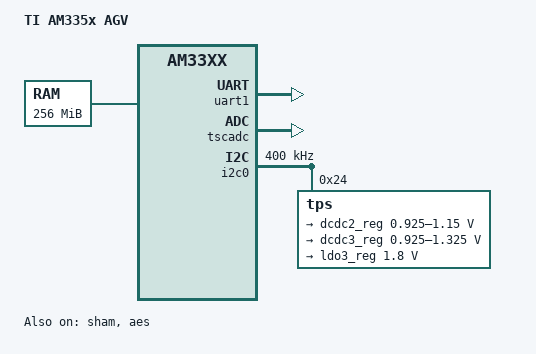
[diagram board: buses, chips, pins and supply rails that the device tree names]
/*
 * Copyright (C) 2012 Texas Instruments Incorporated - http://www.ti.com/
 *
 * This program is free software; you can redistribute it and/or modify
 * it under the terms of the GNU General Public License version 2 as
 * published by the Free Software Foundation.
 */

/* 适配OK335x */

/include/ "am33xx.dtsi"

/ {
	model = "TI AM335x AGV";
	compatible = "ti,am335x-agv", "ti,am33xx";

	cpus {
		cpu@0 {
			cpu0-supply = <&dcdc3_reg>;
		};
	};

	memory {
		device_type = "memory";
		reg = <0x80000000 0x10000000>; /* 256 MB */
	};

	am33xx_pinmux: pinmux@44e10800 {
		pinctrl-names = "default";
		pinctrl-0 = <&i2c0_pins>;

		i2c0_pins: pinmux_i2c0_pins {
			pinctrl-single,pins = <
				0x188 0x70 	/* i2c0_sda, SLEWCTRL_SLOW | INPUT_PULLUP | MODE0 */
				0x18c 0x70	/* i2c0_scl, SLEWCTRL_SLOW | INPUT_PULLUP | MODE0 */
			>;
		};
	};

	ocp: ocp {
		uart1: serial@44e09000 {
			status = "okay";
		};
		rtc@44e3e000 {
			ti,system-power-controller;
		};
		test_helper: helper {
			compatible = "bone-iio-helper";
			vsense-name  = "AIN0", "AIN1", "AIN2", "AIN3", "AIN4", "AIN5", "AIN6", "AIN7";
			vsense-scale = <100     100     100     100     100     100     100     100>;
			status = "okay";
		};
	};
};

&tscadc {
	status = "okay";

	adc {
		ti,adc-channels = <0 1 2 3 4 5 6 7>;
	};
};

&i2c0 {
	status = "okay";
	clock-frequency = <400000>;
	pinctrl-names = "default";
	pinctrl-0 = <&i2c0_pins>;

	tps: tps@24 {
		reg = <0x24>;
	};
};

&i2c2 {
	status = "disabled";
};

/include/ "tps65217.dtsi"

&tps {
	ti,pmic-shutdown-controller;

	/* interrupt-parent = <&intc>; */
	/* interrupts = <7>; */	/* NNMI */
	/* interrupt-inverted; */

	regulators {
		dcdc1_reg: regulator@0 {
			regulator-always-on;
		};

		dcdc2_reg: regulator@1 {
			/* VDD_CORE voltage limits 0.95V - 1.1V with +/-4% tolerance */
			regulator-name = "vdd_core";
			regulator-min-microvolt = <925000>;
			regulator-max-microvolt = <1150000>;
			regulator-boot-on;
			regulator-always-on;
		};

		dcdc3_reg: regulator@2 {
			/* VDD_MPU voltage limits 0.95V - 1.26V with +/-4% tolerance */
			regulator-name = "vdd_mpu";
			regulator-min-microvolt = <925000>;
			regulator-max-microvolt = <1325000>;
			regulator-boot-on;
			regulator-always-on;
		};

		ldo1_reg: regulator@3 {
			regulator-always-on;
		};

		ldo2_reg: regulator@4 {
			regulator-always-on;
		};

		ldo3_reg: regulator@5 {
			regulator-min-microvolt = <1800000>;
			regulator-max-microvolt = <1800000>;
			regulator-always-on;
		};

		ldo4_reg: regulator@6 {
			regulator-always-on;
		};
	};

};

&edma {
	ti,edma-xbar-event-map = <32 12>,	/* gpevt2 -> 12 */
				 <30 20>;	/* xdma_event_intr2 -> 20 */
};

&sham {
	status = "okay";
};

&aes {
	status = "okay";
};
